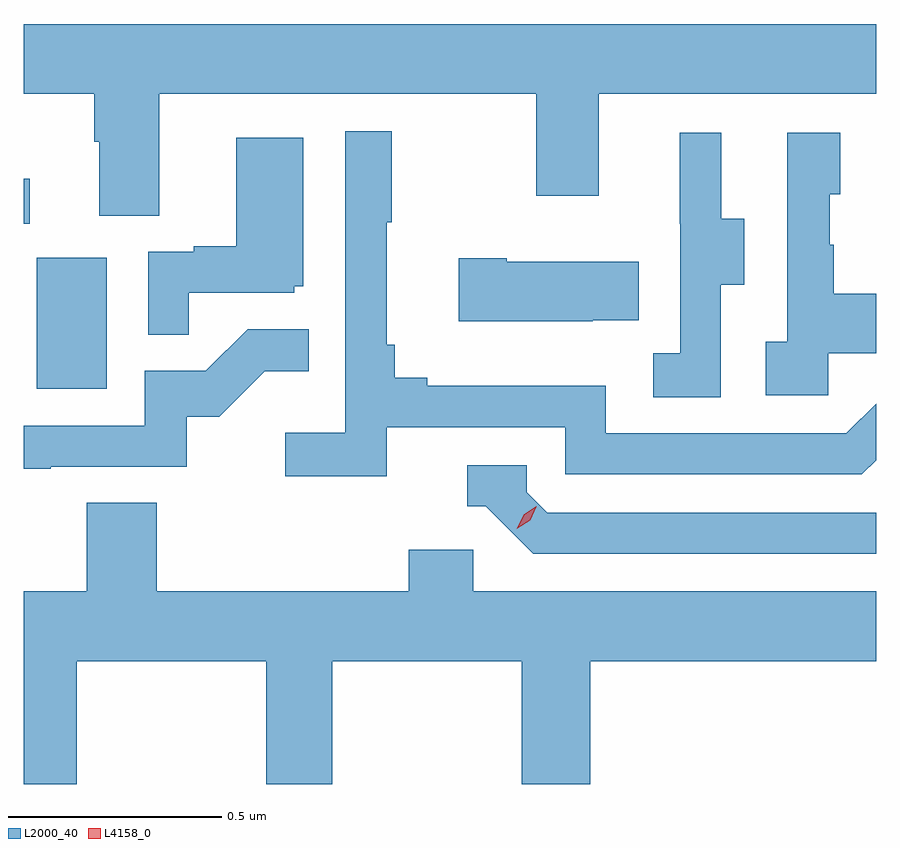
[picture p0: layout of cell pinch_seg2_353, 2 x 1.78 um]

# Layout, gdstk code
import gdstk
lib = gdstk.Library(unit=1e-6, precision=1e-09)
def R(c, l, rs):  # rectangles x0, y0, x1, y1
    for r in rs: c.add(gdstk.rectangle(r[:2], r[2:], *l))
def P(c, l, *ps):  # polygons
    for p in ps: c.add(gdstk.Polygon(p, *l))
L2000_40 = (2000, 40)
L4158_0 = (4158, 0)

pinch_seg2_353 = lib.new_cell('pinch_seg2_353')
R(pinch_seg2_353, L2000_40, [(973.844,634.956,974.008,635.263), (973.814,635.343,973.828,635.449)])
P(pinch_seg2_353, L2000_40, [(974.131,635.648),(975.016,635.648),(975.016,635.409),(975.163,635.409),(975.163,635.648),(975.814,635.648),(975.814,635.812),(973.814,635.812),(973.814,635.648),(973.979,635.648),(973.979,635.536),(973.991,635.536),(973.991,635.362),(974.131,635.362)],
  [(974.666,634.866),(975.084,634.866),(975.084,634.755),(975.781,634.755),(975.814,634.788),(975.814,634.921),(975.744,634.851),(975.18,634.851),(975.18,634.963),(974.761,634.963),(974.761,634.982),(974.684,634.982),(974.684,635.059),(974.665,635.059),(974.665,635.347),(974.677,635.347),(974.677,635.56),(974.568,635.56),(974.568,634.852),(974.427,634.852),(974.427,634.75),(974.666,634.75)],
  [(975.702,635.039),(975.814,635.039),(975.814,635.179),(975.715,635.179),(975.715,635.294),(975.705,635.294),(975.705,635.412),(975.73,635.412),(975.73,635.557),(975.606,635.557),(975.606,635.066),(975.555,635.066),(975.555,634.941),(975.702,634.941)],
  [(975.45,635.2),(975.505,635.2),(975.505,635.355),(975.451,635.355),(975.451,635.557),(975.353,635.557),(975.353,635.343),(975.354,635.343),(975.354,635.039),(975.291,635.039),(975.291,634.936),(975.45,634.936)],
  [(974.201,635.181),(974.448,635.181),(974.448,635.196),(974.47,635.196),(974.47,635.545),(974.312,635.545),(974.312,635.29),(974.213,635.29),(974.213,635.277),(974.106,635.277),(974.106,635.083),(974.201,635.083)],
  [(975.149,635.117),(975.257,635.117),(975.257,635.254),(974.947,635.254),(974.947,635.262),(974.835,635.262),(974.835,635.114),(975.149,635.114)],
  [(973.877,634.773),(974.196,634.773),(974.196,634.89),(974.272,634.89),(974.379,634.997),(974.483,634.997),(974.483,635.096),(974.339,635.096),(974.241,634.998),(974.097,634.998),(974.097,634.869),(973.814,634.869),(973.814,634.768),(973.877,634.768)],
  [(975.814,634.665),(975.042,634.665),(974.994,634.713),(974.994,634.776),(974.855,634.776),(974.855,634.68),(974.898,634.68),(975.009,634.569),(975.814,634.569)],
  [(973.814,634.028),(973.938,634.028),(973.938,634.316),(974.383,634.316),(974.383,634.028),(974.538,634.028),(974.538,634.316),(974.983,634.316),(974.983,634.028),(975.143,634.028),(975.143,634.316),(975.814,634.316),(975.814,634.48),(974.868,634.48),(974.868,634.578),(974.717,634.578),(974.717,634.48),(974.126,634.48),(974.126,634.688),(973.961,634.688),(973.961,634.48),(973.814,634.48)])
P(pinch_seg2_353, L4158_0, [(974.971,634.627),(974.971,634.627),(974.987,634.66),(975.017,634.68),(975.017,634.68),(975.017,634.679),(975.002,634.647),(974.971,634.627)])

lib.write_gds('pinch_seg2_353.gds')
